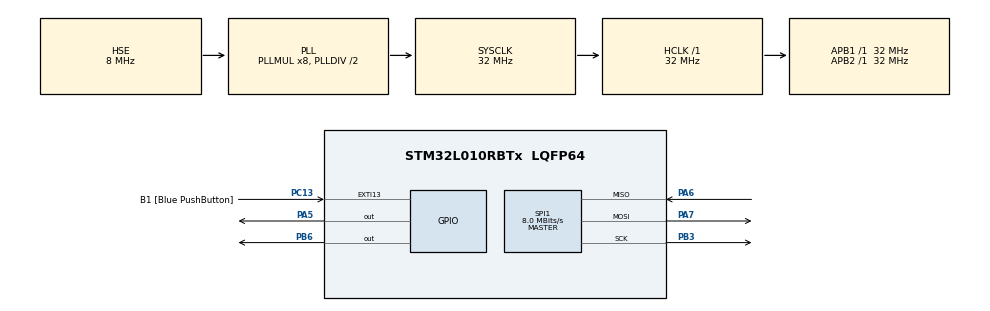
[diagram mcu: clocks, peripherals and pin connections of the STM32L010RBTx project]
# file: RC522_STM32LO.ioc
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Mcu.Family=STM32L0
Mcu.Name=STM32L010RBTx
Mcu.Package=LQFP64
PA13.GPIO_Label=TMS
PA13.Mode=Serial_Wire
PA13.Signal=SYS_SWDIO
PA14.GPIO_Label=TCK
PA14.Mode=Serial_Wire
PA14.Signal=SYS_SWCLK
PA2.GPIO_Label=USART_TX
PA2.Signal=USART2_TX
PA3.GPIO_Label=USART_RX
PA3.Signal=USART2_RX
PA5.Signal=GPIO_Output
PA6.Mode=Full_Duplex_Master
PA6.Signal=SPI1_MISO
PA7.Mode=Full_Duplex_Master
PA7.Signal=SPI1_MOSI
PB3.Mode=Full_Duplex_Master
PB3.Signal=SPI1_SCK
PB6.Signal=GPIO_Output
PC13.GPIO_Label=B1 [Blue PushButton]
PC13.GPIO_ModeDefaultEXTI=GPIO_MODE_IT_FALLING
PC13.Signal=GPXTI13
PC14-OSC32_IN.Mode=LSE-External-Oscillator
PC14-OSC32_IN.Signal=RCC_OSC32_IN
PC15-OSC32_OUT.Mode=LSE-External-Oscillator
PC15-OSC32_OUT.Signal=RCC_OSC32_OUT
PH0-OSC_IN.GPIO_Label=MCO
PH0-OSC_IN.Mode=HSE-External-Clock-Source
PH0-OSC_IN.Signal=RCC_OSC_IN
ProjectManager.HeapSize=0x200
ProjectManager.StackSize=0x400
ProjectManager.TargetToolchain=STM32CubeIDE
RCC.AHBFreq_Value=32000000
RCC.APB1Freq_Value=32000000
RCC.APB1TimFreq_Value=32000000
RCC.APB2Freq_Value=32000000
RCC.APB2TimFreq_Value=32000000
RCC.HCLKFreq_Value=32000000
RCC.HSE_VALUE=8000000
RCC.HSI16_VALUE=16000000
RCC.HSI48_VALUE=48000000
RCC.HSI_VALUE=16000000
RCC.MSI_VALUE=2097000
RCC.PLLMUL=RCC_PLLMUL_8
RCC.PLLSourceVirtual=RCC_PLLSOURCE_HSE
RCC.SYSCLKFreq_VALUE=32000000
RCC.SYSCLKSource=RCC_SYSCLKSOURCE_PLLCLK
RCC.VCOOutputFreq_Value=64000000
SPI1.BaudRatePrescaler=SPI_BAUDRATEPRESCALER_4
SPI1.CalculateBaudRate=8.0 MBits/s
SPI1.Direction=SPI_DIRECTION_2LINES
SPI1.Mode=SPI_MODE_MASTER
SPI1.VirtualType=VM_MASTER
board=NUCLEO-L010RB

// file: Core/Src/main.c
/* USER CODE BEGIN Header */
/**
  ******************************************************************************
  * @file           : main.c
  * @brief          : Main program body
  ******************************************************************************
  * @attention
  *
  * Copyright (c) 2022 STMicroelectronics.
  * All rights reserved.
  *
  * This software is licensed under terms that can be found in the LICENSE file
  * in the root directory of this software component.
  * If no LICENSE file comes with this software, it is provided AS-IS.
  *
  ******************************************************************************
  */
/* USER CODE END Header */
#include "main.h"

/* USER CODE BEGIN Includes */
#include "rc522.h"
/* USER CODE END Includes */

 SPI_HandleTypeDef hspi1;

void SystemClock_Config(void);
static void MX_GPIO_Init(void);
static void MX_SPI1_Init(void);
/* USER CODE BEGIN PFP */
uint8_t RFID_CardCheck();

/* USER CODE END PFP */

/* USER CODE BEGIN 0 */
char card_ID[5];
char my_cardID[5] = {122,75,133,3,183};
char my_cardID1[5] = {217, 7, 196, 90, 64};

/* USER CODE END 0 */

int main(void)
{

  /* MCU Configuration--------------------------------------------------------*/

  /* Reset of all peripherals, Initializes the Flash interface and the Systick. */
  HAL_Init();

  /* Configure the system clock */
  SystemClock_Config();

  /* Initialize all configured peripherals */
  MX_GPIO_Init();
  MX_SPI1_Init();
  /* USER CODE BEGIN 2 */
  MFRC522_Init();
  uint8_t result=0;
  /* USER CODE END 2 */

  /* Infinite loop */
  while (1)
  {

    /* USER CODE BEGIN 3 */
	  //HAL_GPIO_TogglePin(GPIOA, GPIO_PIN_5);
	  HAL_Delay(250);
	result = RFID_CardCheck();

  }
  /* USER CODE END 3 */
}

void SystemClock_Config(void)
{
  RCC_OscInitTypeDef RCC_OscInitStruct = {0};
  RCC_ClkInitTypeDef RCC_ClkInitStruct = {0};

  /** Configure the main internal regulator output voltage
  */
  __HAL_PWR_VOLTAGESCALING_CONFIG(PWR_REGULATOR_VOLTAGE_SCALE1);

  /** Initializes the RCC Oscillators according to the specified parameters
  * in the RCC_OscInitTypeDef structure.
  */
  RCC_OscInitStruct.OscillatorType = RCC_OSCILLATORTYPE_HSE;
  RCC_OscInitStruct.HSEState = RCC_HSE_BYPASS;
  RCC_OscInitStruct.PLL.PLLState = RCC_PLL_ON;
  RCC_OscInitStruct.PLL.PLLSource = RCC_PLLSOURCE_HSE;
  RCC_OscInitStruct.PLL.PLLMUL = RCC_PLLMUL_8;
  RCC_OscInitStruct.PLL.PLLDIV = RCC_PLLDIV_2;
  if (HAL_RCC_OscConfig(&RCC_OscInitStruct) != HAL_OK)
  {
    Error_Handler();
  }

  /** Initializes the CPU, AHB and APB buses clocks
  */
  RCC_ClkInitStruct.ClockType = RCC_CLOCKTYPE_HCLK|RCC_CLOCKTYPE_SYSCLK
                              |RCC_CLOCKTYPE_PCLK1|RCC_CLOCKTYPE_PCLK2;
  RCC_ClkInitStruct.SYSCLKSource = RCC_SYSCLKSOURCE_PLLCLK;
  RCC_ClkInitStruct.AHBCLKDivider = RCC_SYSCLK_DIV1;
  RCC_ClkInitStruct.APB1CLKDivider = RCC_HCLK_DIV1;
  RCC_ClkInitStruct.APB2CLKDivider = RCC_HCLK_DIV1;

  if (HAL_RCC_ClockConfig(&RCC_ClkInitStruct, FLASH_LATENCY_1) != HAL_OK)
  {
    Error_Handler();
  }
}

static void MX_SPI1_Init(void)
{

  /* SPI1 parameter configuration*/
  hspi1.Instance = SPI1;
  hspi1.Init.Mode = SPI_MODE_MASTER;
  hspi1.Init.Direction = SPI_DIRECTION_2LINES;
  hspi1.Init.DataSize = SPI_DATASIZE_8BIT;
  hspi1.Init.CLKPolarity = SPI_POLARITY_LOW;
  hspi1.Init.CLKPhase = SPI_PHASE_1EDGE;
  hspi1.Init.NSS = SPI_NSS_SOFT;
  hspi1.Init.BaudRatePrescaler = SPI_BAUDRATEPRESCALER_4;
  hspi1.Init.FirstBit = SPI_FIRSTBIT_MSB;
  hspi1.Init.TIMode = SPI_TIMODE_DISABLE;
  hspi1.Init.CRCCalculation = SPI_CRCCALCULATION_DISABLE;
  hspi1.Init.CRCPolynomial = 7;
  if (HAL_SPI_Init(&hspi1) != HAL_OK)
  {
    Error_Handler();
  }

}

static void MX_GPIO_Init(void)
{
  GPIO_InitTypeDef GPIO_InitStruct = {0};

  /* GPIO Ports Clock Enable */
  __HAL_RCC_GPIOC_CLK_ENABLE();
  __HAL_RCC_GPIOH_CLK_ENABLE();
  __HAL_RCC_GPIOA_CLK_ENABLE();
  __HAL_RCC_GPIOB_CLK_ENABLE();

  /*Configure GPIO pin Output Level */
  HAL_GPIO_WritePin(GPIOA, GPIO_PIN_5, GPIO_PIN_RESET);

  /*Configure GPIO pin Output Level */
  HAL_GPIO_WritePin(GPIOB, GPIO_PIN_6, GPIO_PIN_RESET);

  /*Configure GPIO pin : B1_Pin */
  GPIO_InitStruct.Pin = B1_Pin;
  GPIO_InitStruct.Mode = GPIO_MODE_IT_FALLING;
  GPIO_InitStruct.Pull = GPIO_NOPULL;
  HAL_GPIO_Init(B1_GPIO_Port, &GPIO_InitStruct);

  /*Configure GPIO pins : USART_TX_Pin USART_RX_Pin */
  GPIO_InitStruct.Pin = USART_TX_Pin|USART_RX_Pin;
  GPIO_InitStruct.Mode = GPIO_MODE_AF_PP;
  GPIO_InitStruct.Pull = GPIO_NOPULL;
  GPIO_InitStruct.Speed = GPIO_SPEED_FREQ_VERY_HIGH;
  GPIO_InitStruct.Alternate = GPIO_AF4_USART2;
  HAL_GPIO_Init(GPIOA, &GPIO_InitStruct);

  /*Configure GPIO pin : PA5 */
  GPIO_InitStruct.Pin = GPIO_PIN_5;
  GPIO_InitStruct.Mode = GPIO_MODE_OUTPUT_PP;
  GPIO_InitStruct.Pull = GPIO_NOPULL;
  GPIO_InitStruct.Speed = GPIO_SPEED_FREQ_LOW;
  HAL_GPIO_Init(GPIOA, &GPIO_InitStruct);

  /*Configure GPIO pin : PB6 */
  GPIO_InitStruct.Pin = GPIO_PIN_6;
  GPIO_InitStruct.Mode = GPIO_MODE_OUTPUT_PP;
  GPIO_InitStruct.Pull = GPIO_NOPULL;
  GPIO_InitStruct.Speed = GPIO_SPEED_FREQ_LOW;
  HAL_GPIO_Init(GPIOB, &GPIO_InitStruct);

}

/* USER CODE BEGIN 4 */
uint8_t RFID_CardCheck()
{
	if(MFRC522_Check((uint8_t *)card_ID) == MI_OK){

		HAL_GPIO_TogglePin(GPIOA, GPIO_PIN_5);
						HAL_Delay(250);

	}
	else
	{
			return 0;
		}
if((MFRC522_Compare((uint8_t*)card_ID,(uint8_t*)my_cardID) == MI_OK) ||MFRC522_Compare((uint8_t*)card_ID,(uint8_t*)my_cardID1) == MI_OK)
			{

		HAL_GPIO_TogglePin(GPIOA, GPIO_PIN_5);
		HAL_Delay(100);

			}

}
/* USER CODE END 4 */

void Error_Handler(void)
{
  __disable_irq();
  while (1)
  {
  }
}
